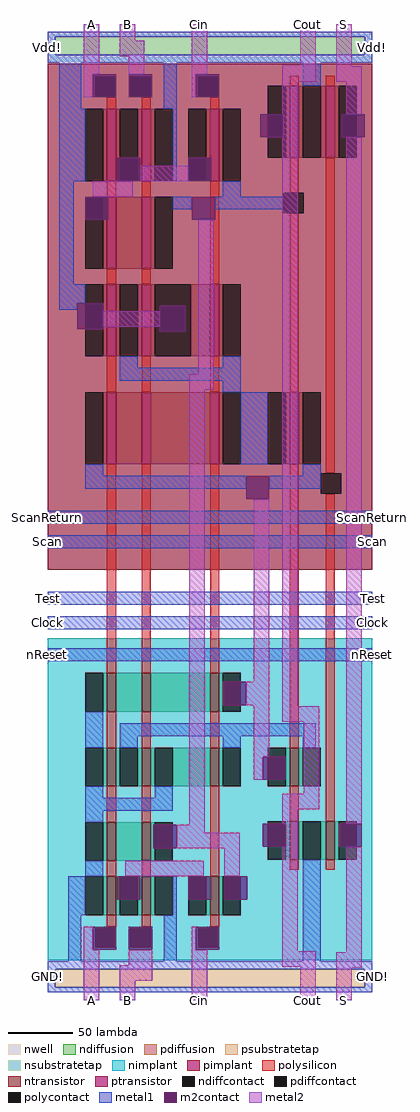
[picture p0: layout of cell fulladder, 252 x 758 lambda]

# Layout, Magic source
magic
tech c35b4
<< pimplant >>
rect 0 334 252 727
<< nimplant >>
rect 0 31 252 281
<< nwell >>
rect 0 334 252 752
<< polysilicon >>
rect 188 710 195 718
rect 216 710 223 718
rect 46 692 53 701
rect 73 692 80 701
rect 126 692 133 701
rect 46 624 53 636
rect 73 624 80 636
rect 46 556 53 568
rect 73 556 80 568
rect 126 556 133 636
rect 188 627 195 654
rect 46 472 53 500
rect 73 472 80 500
rect 126 472 133 500
rect 188 472 195 611
rect 46 254 53 416
rect 73 254 80 416
rect 126 254 133 416
rect 46 196 53 224
rect 73 196 80 224
rect 126 196 133 224
rect 188 196 195 416
rect 216 409 223 654
rect 46 138 53 166
rect 73 138 80 166
rect 46 96 53 108
rect 73 96 80 108
rect 126 96 133 166
rect 188 139 195 166
rect 216 139 223 393
rect 188 101 195 109
rect 216 101 223 109
rect 46 57 53 66
rect 73 57 80 66
rect 126 57 133 66
<< ndiffusion >>
rect 43 224 46 254
rect 53 224 73 254
rect 80 224 126 254
rect 133 224 136 254
rect 43 166 46 196
rect 53 166 56 196
rect 70 166 73 196
rect 80 166 83 196
rect 97 166 126 196
rect 133 166 136 196
rect 185 166 188 196
rect 195 166 198 196
rect 43 108 46 138
rect 53 108 73 138
rect 80 108 83 138
rect 185 109 188 139
rect 195 109 198 139
rect 212 109 216 139
rect 223 109 226 139
rect 43 66 46 96
rect 53 66 56 96
rect 70 66 73 96
rect 80 66 83 96
rect 123 66 126 96
rect 133 66 136 96
<< pdiffusion >>
rect 43 636 46 692
rect 53 636 56 692
rect 70 636 73 692
rect 80 636 83 692
rect 123 636 126 692
rect 133 636 136 692
rect 185 654 188 710
rect 195 654 198 710
rect 212 654 216 710
rect 223 654 226 710
rect 43 568 46 624
rect 53 568 73 624
rect 80 568 83 624
rect 43 500 46 556
rect 53 500 56 556
rect 70 500 73 556
rect 80 500 83 556
rect 111 500 126 556
rect 133 500 136 556
rect 43 416 46 472
rect 53 416 73 472
rect 80 416 126 472
rect 133 416 136 472
rect 185 416 188 472
rect 195 416 198 472
<< ntransistor >>
rect 46 224 53 254
rect 73 224 80 254
rect 126 224 133 254
rect 46 166 53 196
rect 73 166 80 196
rect 126 166 133 196
rect 188 166 195 196
rect 46 108 53 138
rect 73 108 80 138
rect 188 109 195 139
rect 216 109 223 139
rect 46 66 53 96
rect 73 66 80 96
rect 126 66 133 96
<< ptransistor >>
rect 46 636 53 692
rect 73 636 80 692
rect 126 636 133 692
rect 188 654 195 710
rect 216 654 223 710
rect 46 568 53 624
rect 73 568 80 624
rect 46 500 53 556
rect 73 500 80 556
rect 126 500 133 556
rect 46 416 53 472
rect 73 416 80 472
rect 126 416 133 472
rect 188 416 195 472
<< polycontact >>
rect 37 701 53 717
rect 64 701 80 717
rect 117 701 133 717
rect 183 611 199 627
rect 212 393 228 409
rect 37 41 53 57
rect 64 41 80 57
rect 117 41 133 57
<< ndiffcontact >>
rect 29 224 43 254
rect 136 224 150 254
rect 29 166 43 196
rect 56 166 70 196
rect 83 166 97 196
rect 136 166 150 196
rect 171 166 185 196
rect 198 166 212 196
rect 29 108 43 138
rect 83 108 97 138
rect 171 109 185 139
rect 198 109 212 139
rect 226 109 240 139
rect 29 66 43 96
rect 56 66 70 96
rect 83 66 97 96
rect 109 66 123 96
rect 136 66 150 96
<< pdiffcontact >>
rect 29 636 43 692
rect 56 636 70 692
rect 83 636 97 692
rect 109 636 123 692
rect 136 636 150 692
rect 171 654 185 710
rect 198 654 212 710
rect 226 654 240 710
rect 29 568 43 624
rect 83 568 97 624
rect 29 500 43 556
rect 56 500 70 556
rect 83 500 111 556
rect 136 500 150 556
rect 29 416 43 472
rect 136 416 150 472
rect 171 416 185 472
rect 198 416 212 472
<< psubstratetap >>
rect 6 10 246 24
<< nsubstratetap >>
rect 6 734 246 748
<< metal1 >>
rect 0 748 252 752
rect 0 734 6 748
rect 246 734 252 748
rect 0 728 252 734
rect 9 692 26 728
rect 90 692 100 728
rect 198 710 212 728
rect 9 636 29 692
rect 97 636 100 692
rect 9 556 20 636
rect 136 624 150 636
rect 97 614 112 624
rect 130 614 183 624
rect 9 541 29 556
rect 9 536 23 541
rect 56 491 70 500
rect 136 491 150 500
rect 56 481 150 491
rect 136 472 150 481
rect 150 416 171 472
rect 29 407 43 416
rect 198 407 212 416
rect 29 397 154 407
rect 172 397 212 407
rect 0 370 252 380
rect 0 351 252 361
rect 0 307 252 317
rect 0 288 252 298
rect 0 263 252 273
rect 29 196 43 224
rect 56 205 208 215
rect 56 196 70 205
rect 136 196 150 205
rect 198 196 208 205
rect 29 157 43 166
rect 83 157 97 166
rect 29 147 97 157
rect 29 138 43 147
rect 29 96 43 108
rect 16 66 29 96
rect 97 66 100 96
rect 16 30 26 66
rect 90 30 100 66
rect 198 30 212 109
rect 0 24 252 30
rect 0 10 6 24
rect 246 10 252 24
rect 0 6 252 10
<< m2contact >>
rect 35 717 53 719
rect 35 701 37 717
rect 37 701 53 717
rect 63 717 81 719
rect 63 701 64 717
rect 64 701 80 717
rect 80 701 81 717
rect 115 717 133 719
rect 115 701 117 717
rect 117 701 133 717
rect 54 636 56 654
rect 56 636 70 654
rect 70 636 72 654
rect 109 636 123 654
rect 123 636 127 654
rect 165 670 171 688
rect 171 670 183 688
rect 228 670 240 688
rect 240 670 246 688
rect 29 606 43 624
rect 43 606 47 624
rect 112 606 130 624
rect 23 521 29 541
rect 29 521 43 541
rect 87 519 107 539
rect 154 389 172 407
rect 136 229 150 247
rect 150 229 154 247
rect 167 171 171 189
rect 171 171 185 189
rect 82 118 83 136
rect 83 118 97 136
rect 97 118 100 136
rect 167 119 171 137
rect 171 119 185 137
rect 226 119 240 137
rect 240 119 244 137
rect 54 78 56 96
rect 56 78 70 96
rect 70 78 72 96
rect 109 78 123 96
rect 123 78 127 96
rect 137 78 150 96
rect 150 78 155 96
rect 35 41 37 57
rect 37 41 53 57
rect 35 39 53 41
rect 63 41 64 57
rect 64 41 80 57
rect 80 41 81 57
rect 63 39 81 41
rect 115 41 117 57
rect 117 41 133 57
rect 115 39 133 41
<< metal2 >>
rect 28 719 40 758
rect 56 745 68 758
rect 56 733 75 745
rect 63 719 75 733
rect 112 719 124 758
rect 196 726 208 758
rect 28 701 35 719
rect 112 701 115 719
rect 182 713 208 726
rect 224 725 236 758
rect 224 713 244 725
rect 182 688 194 713
rect 232 688 244 713
rect 183 670 194 688
rect 72 636 109 648
rect 35 624 66 636
rect 43 523 87 535
rect 117 486 129 606
rect 110 474 129 486
rect 110 136 122 474
rect 160 247 172 389
rect 154 229 172 247
rect 160 189 172 229
rect 182 228 194 670
rect 182 216 211 228
rect 160 171 167 189
rect 199 160 211 216
rect 182 148 211 160
rect 182 137 194 148
rect 232 137 244 670
rect 100 130 122 136
rect 100 118 149 130
rect 185 119 194 137
rect 60 96 121 108
rect 137 96 149 118
rect 28 39 35 57
rect 28 0 40 39
rect 63 27 81 39
rect 56 15 81 27
rect 112 39 115 57
rect 56 0 68 15
rect 112 0 124 39
rect 182 38 194 119
rect 182 26 208 38
rect 232 37 244 119
rect 196 0 208 26
rect 224 25 244 37
rect 224 0 236 25
<< labels >>
rlabel metal1 252 6 252 30 7 GND!
rlabel metal1 0 6 0 30 3 GND!
rlabel metal2 28 0 40 0 1 A
rlabel metal2 56 0 68 0 1 B
rlabel metal2 112 0 124 0 1 Cin
rlabel metal2 196 0 208 0 1 Cout
rlabel metal2 224 0 236 0 1 S
rlabel metal1 0 263 0 273 3 nReset
rlabel metal1 0 288 0 298 3 Clock
rlabel metal1 0 307 0 317 3 Test
rlabel metal1 0 351 0 361 3 Scan
rlabel metal1 0 370 0 380 3 ScanReturn
rlabel metal1 252 370 252 380 7 ScanReturn
rlabel metal1 252 351 252 361 7 Scan
rlabel metal1 252 307 252 317 7 Test
rlabel metal1 252 288 252 298 7 Clock
rlabel metal1 252 263 252 273 7 nReset
rlabel metal1 0 728 0 752 3 Vdd!
rlabel metal1 252 728 252 752 7 Vdd!
rlabel metal2 28 758 40 758 5 A
rlabel metal2 196 758 208 758 5 Cout
rlabel metal2 224 758 236 758 5 S
rlabel metal2 112 758 124 758 5 Cin
rlabel metal2 56 758 68 758 5 B
<< end >>
